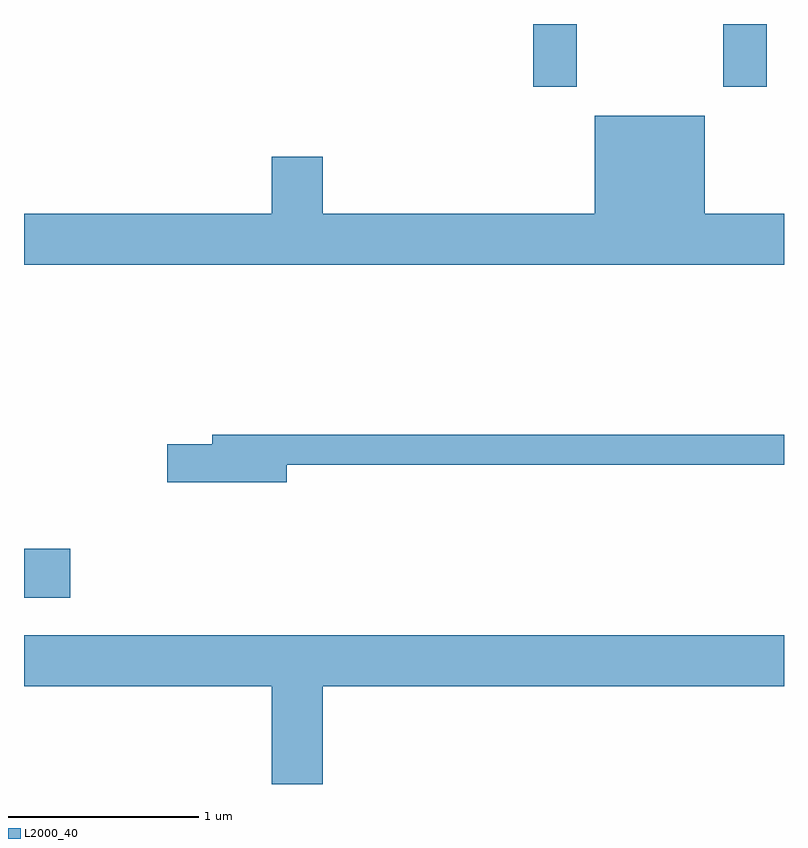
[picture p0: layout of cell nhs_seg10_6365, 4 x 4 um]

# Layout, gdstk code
import gdstk
lib = gdstk.Library(unit=1e-6, precision=1e-09)
def R(c, l, rs):  # rectangles x0, y0, x1, y1
    for r in rs: c.add(gdstk.rectangle(r[:2], r[2:], *l))
def P(c, l, *ps):  # polygons
    for p in ps: c.add(gdstk.Polygon(p, *l))
L2000_40 = (2000, 40)

nhs_seg10_6365 = lib.new_cell('nhs_seg10_6365')
R(nhs_seg10_6365, L2000_40, [(373.611,2105.501,373.854,2105.759), (376.291,2108.191,376.519,2108.522), (377.291,2108.191,377.519,2108.522)])
P(nhs_seg10_6365, L2000_40, [(377.611,2107.524),(377.194,2107.524),(377.194,2108.039),(376.616,2108.039),(376.616,2107.524),(375.184,2107.524),(375.184,2107.824),(374.916,2107.824),(374.916,2107.524),(373.611,2107.524),(373.611,2107.256),(377.611,2107.256)],
  [(374.994,2106.201),(377.611,2106.201),(377.611,2106.359),(374.601,2106.359),(374.601,2106.309),(374.366,2106.309),(374.366,2106.111),(374.994,2106.111)],
  [(375.184,2105.036),(377.611,2105.036),(377.611,2105.304),(373.611,2105.304),(373.611,2105.036),(374.916,2105.036),(374.916,2104.522),(375.184,2104.522)])

lib.write_gds('nhs_seg10_6365.gds')
